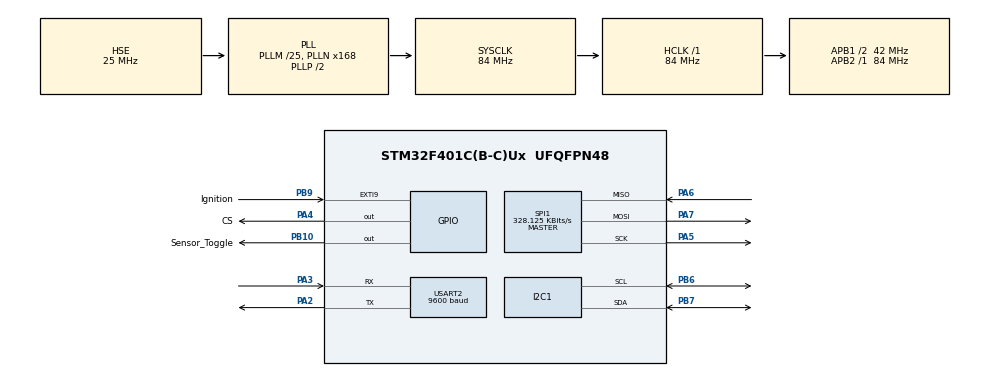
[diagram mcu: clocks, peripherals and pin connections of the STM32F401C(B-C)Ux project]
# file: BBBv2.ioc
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Dma.Request0=USART2_RX
Dma.USART2_RX.0.Direction=DMA_PERIPH_TO_MEMORY
Dma.USART2_RX.0.FIFOMode=DMA_FIFOMODE_DISABLE
Dma.USART2_RX.0.Instance=DMA1_Stream5
Dma.USART2_RX.0.MemDataAlignment=DMA_MDATAALIGN_BYTE
Dma.USART2_RX.0.MemInc=DMA_MINC_ENABLE
Dma.USART2_RX.0.Mode=DMA_CIRCULAR
Dma.USART2_RX.0.PeriphDataAlignment=DMA_PDATAALIGN_BYTE
Dma.USART2_RX.0.PeriphInc=DMA_PINC_DISABLE
Dma.USART2_RX.0.Priority=DMA_PRIORITY_MEDIUM
I2C1.I2C_Mode=I2C_Fast
Mcu.Family=STM32F4
Mcu.Name=STM32F401C(B-C)Ux
Mcu.Package=UFQFPN48
NVIC.DMA1_Stream5_IRQn=true\:0\:0\:false\:false\:true\:false\:true\:true
NVIC.PriorityGroup=NVIC_PRIORITYGROUP_4
NVIC.TIM2_IRQn=true\:0\:0\:false\:false\:true\:true\:true\:true
PA2.Mode=Asynchronous
PA2.Signal=USART2_TX
PA3.Mode=Asynchronous
PA3.Signal=USART2_RX
PA4.GPIO_Label=CS
PA4.GPIO_Speed=GPIO_SPEED_FREQ_HIGH
PA4.PinState=GPIO_PIN_SET
PA4.Signal=GPIO_Output
PA5.Mode=Full_Duplex_Master
PA5.Signal=SPI1_SCK
PA6.Mode=Full_Duplex_Master
PA6.Signal=SPI1_MISO
PA7.Mode=Full_Duplex_Master
PA7.Signal=SPI1_MOSI
PB10.GPIO_Label=Sensor_Toggle
PB10.GPIO_PuPd=GPIO_PULLUP
PB10.GPIO_Speed=GPIO_SPEED_FREQ_MEDIUM
PB10.PinState=GPIO_PIN_SET
PB10.Signal=GPIO_Output
PB6.Mode=I2C
PB6.Signal=I2C1_SCL
PB7.Mode=I2C
PB7.Signal=I2C1_SDA
PB9.GPIO_Label=Ignition
PB9.GPIO_PuPd=GPIO_PULLDOWN
PB9.Signal=GPXTI9
PC14-OSC32_IN.Mode=LSE-External-Oscillator
PC14-OSC32_IN.Signal=RCC_OSC32_IN
PC15-OSC32_OUT.Mode=LSE-External-Oscillator
PC15-OSC32_OUT.Signal=RCC_OSC32_OUT
PH0\ -\ OSC_IN.Mode=HSE-External-Oscillator
PH0\ -\ OSC_IN.Signal=RCC_OSC_IN
PH1\ -\ OSC_OUT.Mode=HSE-External-Oscillator
PH1\ -\ OSC_OUT.Signal=RCC_OSC_OUT
ProjectManager.HeapSize=0x200
ProjectManager.StackSize=0x400
ProjectManager.TargetToolchain=STM32CubeIDE
RCC.48MHZClocksFreq_Value=42000000
RCC.AHBFreq_Value=84000000
RCC.APB1CLKDivider=RCC_HCLK_DIV2
RCC.APB1Freq_Value=42000000
RCC.APB1TimFreq_Value=84000000
RCC.APB2Freq_Value=84000000
RCC.APB2TimFreq_Value=84000000
RCC.CortexFreq_Value=84000000
RCC.HCLKFreq_Value=84000000
RCC.HSE_VALUE=25000000
RCC.HSI_VALUE=16000000
RCC.PLLM=25
RCC.PLLN=168
RCC.PLLSourceVirtual=RCC_PLLSOURCE_HSE
RCC.RCC_RTC_Clock_Source=RCC_RTCCLKSOURCE_LSE
RCC.SYSCLKFreq_VALUE=84000000
RCC.SYSCLKSource=RCC_SYSCLKSOURCE_PLLCLK
RCC.VCOOutputFreq_Value=168000000
SPI1.BaudRatePrescaler=SPI_BAUDRATEPRESCALER_256
SPI1.CalculateBaudRate=328.125 KBits/s
SPI1.Direction=SPI_DIRECTION_2LINES
SPI1.Mode=SPI_MODE_MASTER
SPI1.VirtualType=VM_MASTER
TIM2.Period=999
TIM2.Prescaler=83
USART2.BaudRate=9600
USART2.Mode=MODE_RX
USART2.VirtualMode=VM_ASYNC
VP_RTC_VS_RTC_Activate.Mode=RTC_Enabled
VP_TIM2_VS_ClockSourceINT.Mode=Internal
board=custom

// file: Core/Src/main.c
/* USER CODE BEGIN Header */
/**
  ******************************************************************************
  * @file           : main.c
  * @brief          : Main program body
  ******************************************************************************
  */
/* USER CODE END Header */

#include "stm32f4xx_hal.h"
#include "main.h"

/* USER CODE BEGIN Includes */
#include "mpu6050.h"
#include "sdcard.h"
#include "gps.h"
#include "ssd1306.h"
#include "data_types.h"
#include <stdint.h>
#include <string.h>
#include <stdio.h>
#include "ssd1306_fonts.h"
/* USER CODE END Includes */

/* USER CODE BEGIN PTD */
#define LOG_TYPE_IMU  0x01u   /* SD record tag: IMU sample */
#define LOG_TYPE_GPS  0x02u   /* SD record tag: GPS fix    */

typedef struct __attribute__((packed)) {
    float    latitude;
    float    longitude;
    float    speed;
    char     time[12];
    uint32_t timestamp_ms;
} gps_log_record_t;
/* USER CODE END PTD */

/* USER CODE BEGIN PD */
#define SAMPLE_RATE      40                               /* IMU samples per second */
#define BUFFER_SECONDS   60                               /* ring buffer depth */
#define BUFFER_SIZE      (SAMPLE_RATE * BUFFER_SECONDS)   /* 2400 samples */

/* Squared-magnitude thresholds (raw ADC units²); no sqrt needed */
#define ACCEL_THRESHOLD  15000000u
#define GYRO_THRESHOLD   3000000u

#define RTC_INIT_FLAG    0xABCE   /* sentinel stored in backup register to detect first boot */

#define GPS_POLL_MS      1000u    /* poll GPS once per second */
#define OLED_REFRESH_MS  200u     /* update OLED 5 times per second */

/* Sensor rail is active-low: RESET = power on, SET = power off */
#define SENSORS_POWER_ON()  HAL_GPIO_WritePin(Sensor_Toggle_GPIO_Port, \
                                               Sensor_Toggle_Pin, GPIO_PIN_RESET)
#define SENSORS_POWER_OFF() HAL_GPIO_WritePin(Sensor_Toggle_GPIO_Port, \
                                               Sensor_Toggle_Pin, GPIO_PIN_SET)
/* USER CODE END PD */

I2C_HandleTypeDef  hi2c1;   /* MPU-6050 */
RTC_HandleTypeDef  hrtc;
SPI_HandleTypeDef  hspi1;   /* SD card  */
TIM_HandleTypeDef  htim2;   /* 1 ms system tick + sample trigger */
UART_HandleTypeDef huart2;  /* GPS NMEA RX (DMA) */
DMA_HandleTypeDef  hdma_usart2_rx;

/* USER CODE BEGIN PV */
extern char sentence_buffer[100];   /* filled by GPS DMA ISR */

volatile uint8_t  sample_trigger     = 0;   /* counts TIM2 ticks toward next IMU sample */
volatile uint32_t system_time_ms     = 0;   /* free-running ms counter, incremented in TIM2 ISR */

sample_t buffer[BUFFER_SIZE];   /* circular ring buffer of IMU samples */

volatile uint8_t sample_request_flag = 0;   /* set by ISR, cleared in main loop */
uint8_t  crash_trigger_flag          = 0;   /* set when crash threshold exceeded */
uint8_t  buffer_freeze_flag          = 0;   /* set when post-crash capture is complete */

static uint8_t crash_displayed = 0;   /* prevents overwriting the crash screen on OLED */

uint16_t write_index    = 0;   /* next slot to write in the ring buffer */
uint16_t crash_index    = 0;   /* ring buffer position at moment of crash detection */

uint64_t accel_mag = 0;   /* squared magnitude of accelerometer vector */
uint64_t gyro_mag  = 0;   /* squared magnitude of gyroscope vector */

int32_t ax, ay, az;
int32_t gx, gy, gz;

uint8_t  crash_counter      = 0;   /* consecutive samples above threshold */
uint16_t post_crash_counter = 0;   /* samples collected after crash trigger */

RTC_TimeTypeDef rtc_time_ref;   /* last RTC snapshot, refreshed at 1 Hz */
RTC_DateTypeDef rtc_date_ref;

volatile uint32_t last_rtc_sync   = 0;
volatile uint32_t rtc_sync_ms_ref = 0;

static sample_t last_valid_sample = {0};   /* used as fallback if an I2C read fails */

uint8_t  sd_buffer[512];     /* one SD sector staging buffer */
uint16_t sd_index       = 0;
uint32_t current_sector = 0;
uint32_t base_sector    = 2048;   /* first writable sector (avoids MBR/FAT area) */
uint8_t  logging_done   = 0;

static gps_log_record_t last_gps_record  = {0};
static uint8_t          gps_fix_valid    = 0;
static uint32_t         last_gps_poll_ms = 0;
static uint32_t         last_oled_ms     = 0;

/* Tracks actual samples stored so far; prevents logging uninitialised slots
   when the buffer has never been fully filled. */
static uint16_t samples_written = 0;

/* USER CODE END PV */

void SystemClock_Config(void);
static void MX_GPIO_Init(void);
static void MX_DMA_Init(void);
static void MX_I2C1_Init(void);
static void MX_RTC_Init(void);
static void MX_SPI1_Init(void);
static void MX_TIM2_Init(void);
static void MX_USART2_UART_Init(void);

/* USER CODE BEGIN 0 */
/* Latch current RTC time and date into global references */
void Update_Time_Reference(void)
{
    /* Date must be read after Time to unlock the shadow registers correctly */
    HAL_RTC_GetTime(&hrtc, &rtc_time_ref, RTC_FORMAT_BIN);
    HAL_RTC_GetDate(&hrtc, &rtc_date_ref, RTC_FORMAT_BIN);
}

/* Write a type-tagged record into the 512-byte SD staging buffer.
   Flushes the sector to SD automatically when full. */
static void SD_WriteTaggedRecord(uint8_t type, const void *payload,
                                  uint16_t payload_len, uint8_t *sd_error)
{
    uint16_t record_len = 1u + payload_len;   /* tag byte + payload */
    if (sd_index + record_len > 512u)         /* sector full — flush first */
    {
        if (!SD_Write(current_sector, sd_buffer)) { *sd_error = 1; return; }
        current_sector++;
        sd_index = 0;
        memset(sd_buffer, 0, 512u);
    }
    sd_buffer[sd_index++] = type;
    memcpy(&sd_buffer[sd_index], payload, payload_len);
    sd_index += payload_len;
}

/* snprintf-safe float formatter for targets without printf float support */
static void __attribute__((unused)) Format_Float_As_Int(char *buf, size_t buf_len,
                                                         float val, uint8_t decimals)
{
    int   neg     = (val < 0.0f);
    float abs_val = neg ? -val : val;
    long  ip      = (long)abs_val;
    float frac_f  = abs_val - (float)ip;
    unsigned long scale = 1;
    for (uint8_t i = 0; i < decimals; i++) scale *= 10u;
    unsigned long fp = (unsigned long)(frac_f * (float)scale + 0.5f);
    if (fp >= scale) { fp = 0; ip++; }   /* handle rounding carry */
    snprintf(buf, buf_len, "%s%ld.%0*lu", neg ? "-" : "", ip, (int)decimals, fp);
}
/* USER CODE END 0 */

int main(void)
{
    HAL_Init();
    SystemClock_Config();

    /* USER CODE BEGIN SysInit */
    __HAL_RCC_PWR_CLK_ENABLE();
    HAL_PWR_EnableBkUpAccess();   /* required before touching RTC/backup registers */

    /* Drive sensor rail OFF before LSE wait — on a cold power cycle GPIO is not yet
       initialised, so Sensor_Toggle (PB10) floats and can accidentally power sensors.
       Uncontrolled sensor power-on corrupts the I2C bus before MX_I2C1_Init runs. */
    __HAL_RCC_GPIOB_CLK_ENABLE();
    {
        GPIO_InitTypeDef g = {0};
        g.Pin   = GPIO_PIN_10;
        g.Mode  = GPIO_MODE_OUTPUT_PP;
        g.Pull  = GPIO_NOPULL;
        g.Speed = GPIO_SPEED_FREQ_LOW;
        HAL_GPIO_Init(GPIOB, &g);
    }
    HAL_GPIO_WritePin(GPIOB, GPIO_PIN_10, GPIO_PIN_SET);   /* sensors OFF (active-low) */

    MX_RTC_Init();

    /* Only set default time/date on the very first boot (backup register is blank) */
    if (HAL_RTCEx_BKUPRead(&hrtc, RTC_BKP_DR0) != RTC_INIT_FLAG)
    {
        RTC_TimeTypeDef sTime = {0};
        RTC_DateTypeDef sDate = {0};
        sTime.Hours = 6; sTime.Minutes = 43; sTime.Seconds = 0;
        sDate.Date  = 22; sDate.Month   = 3; sDate.Year    = 26;
        HAL_RTC_SetTime(&hrtc, &sTime, RTC_FORMAT_BIN);
        HAL_RTC_SetDate(&hrtc, &sDate, RTC_FORMAT_BIN);
        HAL_RTCEx_BKUPWrite(&hrtc, RTC_BKP_DR0, RTC_INIT_FLAG);   /* mark as initialised */
    }
    /* USER CODE END SysInit */

    MX_GPIO_Init();
    MX_DMA_Init();
    MX_I2C1_Init();
    MX_SPI1_Init();
    MX_TIM2_Init();
    MX_USART2_UART_Init();

    /* USER CODE BEGIN 2 */
    SENSORS_POWER_ON();
    HAL_Delay(50);   /* MPU6050 requires ≥30 ms after power rail rises */

    /* Sensor power-up can glitch SDA/SCL and leave the I2C peripheral in an error
       state. Re-init after the rail is stable so the first OLED write starts clean. */
    HAL_I2C_DeInit(&hi2c1);
    MX_I2C1_Init();

    /* Init OLED first so it can show status regardless of IMU state */
    ssd1306_Init();
    ssd1306_Fill(Black);
    ssd1306_SetCursor(0, 0);
    ssd1306_WriteString("System Init...", Font_7x10, White);
    ssd1306_UpdateScreen();

    {
        uint16_t imu_retry = 0;
        while (!MPU6050_Init(&hi2c1, MPU6050_ADDR_LOW))
        {
            HAL_Delay(10);
            if (++imu_retry >= 50)   /* ~500 ms with no response — bus is stuck */
            {
                HAL_I2C_DeInit(&hi2c1);
                MX_I2C1_Init();
                imu_retry = 0;
            }
        }
    }
    /* Re-init OLED in case the IMU retry loop triggered I2C bus recovery */
    ssd1306_Init();

    GPS_Init(&huart2, &hdma_usart2_rx);
    HAL_TIM_Base_Start_IT(&htim2);   /* start 1 ms tick */

    /* Snapshot references so relative timers start from zero */
    last_rtc_sync    = system_time_ms;
    rtc_sync_ms_ref  = system_time_ms;
    last_gps_poll_ms = system_time_ms;
    last_oled_ms     = system_time_ms;
    Update_Time_Reference();

    ssd1306_Fill(Black);
    ssd1306_SetCursor(0, 0);
    ssd1306_WriteString("IMU OK", Font_7x10, White);
    ssd1306_UpdateScreen();
    HAL_Delay(500);

    ssd1306_Fill(Black);
    ssd1306_SetCursor(0, 0);
    ssd1306_WriteString("System Ready", Font_7x10, White);
    ssd1306_UpdateScreen();

    SD_DriverInit(&hspi1);
    if (SD_Init())
    {
        ssd1306_Fill(Black);
        ssd1306_SetCursor(0, 0);
        ssd1306_WriteString("SD OK", Font_7x10, White);
    }
    else
    {
        ssd1306_Fill(Black);
        ssd1306_SetCursor(0, 0);
        ssd1306_WriteString("SD FAIL", Font_7x10, White);
    }
    ssd1306_UpdateScreen();
    HAL_Delay(1000);
    /* USER CODE END 2 */

    while (1)
    {
        /* USER CODE BEGIN 3 */

        uint32_t now = system_time_ms;   /* single snapshot avoids skew across checks */

        /* ---------------------------------------------------------------- */
        /* RTC SYNC — 1 Hz                                                  */
        /* ---------------------------------------------------------------- */
        if ((now - last_rtc_sync) >= 1000u)
        {
            last_rtc_sync   = now;
            rtc_sync_ms_ref = now;
            Update_Time_Reference();
        }

        /* ---------------------------------------------------------------- */
        /* GPS POLL — 1 Hz                                                  */
        /* ---------------------------------------------------------------- */
        if ((now - last_gps_poll_ms) >= GPS_POLL_MS)
        {
            last_gps_poll_ms = now;

            gps_data_t gd = GPS_GetData();
            gps_fix_valid  = gd.valid;

            last_gps_record.latitude     = gd.latitude;
            last_gps_record.longitude    = gd.longitude;
            last_gps_record.speed        = gd.speed;
            last_gps_record.timestamp_ms = now;

            /* Copy time string safely without overflowing the destination */
            size_t clen = sizeof(last_gps_record.time) < sizeof(gd.time)
                          ? sizeof(last_gps_record.time) : sizeof(gd.time);

            memset(last_gps_record.time, 0, sizeof(last_gps_record.time));
            memcpy(last_gps_record.time, gd.time, clen - 1);   /* leave null terminator */
        }

        /* ---------------------------------------------------------------- */
        /* OLED UPDATE — 5 Hz (every 200 ms)                                */
        /* ---------------------------------------------------------------- */
        if ((now - last_oled_ms) >= OLED_REFRESH_MS)
        {
            last_oled_ms = now;

            /* Skip normal status display if the crash screen is showing */
            if (!crash_displayed)
            {
                ssd1306_Fill(Black);
                char line[24];

                snprintf(line, sizeof(line), "A:%6d%6d%6d",
                         (int)last_valid_sample.ax,
                         (int)last_valid_sample.ay,
                         (int)last_valid_sample.az);
                ssd1306_SetCursor(0, 0);
                ssd1306_WriteString(line, Font_6x8, White);

                snprintf(line, sizeof(line), "G:%6d%6d%6d",
                         (int)last_valid_sample.gx,
                         (int)last_valid_sample.gy,
                         (int)last_valid_sample.gz);
                ssd1306_SetCursor(0, 8);
                ssd1306_WriteString(line, Font_6x8, White);

                snprintf(line, sizeof(line), "V:%d T:%.8s",
                         (int)gps_fix_valid, last_gps_record.time);
                ssd1306_SetCursor(0, 16);
                ssd1306_WriteString(line, Font_6x8, White);

                snprintf(line, sizeof(line), "T:%02d:%02d:%02d",
                         rtc_time_ref.Hours,
                         rtc_time_ref.Minutes,
                         rtc_time_ref.Seconds);
                ssd1306_SetCursor(0, 24);
                ssd1306_WriteString(line, Font_6x8, White);

                snprintf(line, sizeof(line), "D:%02d/%02d/%02d",
                         rtc_date_ref.Date,
                         rtc_date_ref.Month,
                         rtc_date_ref.Year);
                ssd1306_SetCursor(0, 32);
                ssd1306_WriteString(line, Font_6x8, White);

                snprintf(line, sizeof(line), "UP:%lu s",
                         (unsigned long)(now / 1000u));
                ssd1306_SetCursor(0, 40);
                ssd1306_WriteString(line, Font_6x8, White);

                if (HAL_I2C_GetState(&hi2c1) != HAL_I2C_STATE_READY)
                {
                    HAL_I2C_DeInit(&hi2c1);
                    MX_I2C1_Init();
                    ssd1306_Init();
                }

                ssd1306_UpdateScreen();
            }
        }

        /* ---------------------------------------------------------------- */
        /* IMU SAMPLING @ 40 Hz                                             */
        /* ---------------------------------------------------------------- */
        if (sample_request_flag)
        {
            sample_request_flag = 0;
            uint32_t read_start = system_time_ms;

            /* Read sensor; fall back to last good values on I2C failure */
            if (MPU6050_Read(&hi2c1, &buffer[write_index]))
            {
                last_valid_sample = buffer[write_index];
            }
            else
            {
                buffer[write_index].ax = last_valid_sample.ax;
                buffer[write_index].ay = last_valid_sample.ay;
                buffer[write_index].az = last_valid_sample.az;
                buffer[write_index].gx = last_valid_sample.gx;
                buffer[write_index].gy = last_valid_sample.gy;
                buffer[write_index].gz = last_valid_sample.gz;
            }

            if ((system_time_ms - read_start) > 10)
                {
                    HAL_I2C_DeInit(&hi2c1);
                    MX_I2C1_Init();
                }

            buffer[write_index].timestamp = system_time_ms;

            /* Startup grace period (5 s): fill buffer but suppress crash detection
               to avoid false triggers while the sensor settles. */
            if (system_time_ms < 5000)
            {
                write_index = (write_index + 1) % BUFFER_SIZE;
                if (samples_written < BUFFER_SIZE) samples_written++;
                crash_counter = 0;
            }

            else if (!crash_trigger_flag)
            {
                /* Compute squared magnitudes (avoids costly sqrt) */
                ax = buffer[write_index].ax;
                ay = buffer[write_index].ay;
                az = buffer[write_index].az;
                gx = buffer[write_index].gx;
                gy = buffer[write_index].gy;
                gz = buffer[write_index].gz;

                accel_mag = (uint64_t)((int64_t)ax*ax + (int64_t)ay*ay + (int64_t)az*az);
                gyro_mag  = (uint64_t)((int64_t)gx*gx + (int64_t)gy*gy + (int64_t)gz*gz);

                /* Require 3 consecutive over-threshold samples (~75 ms) to
                   confirm a real crash and reject single-sample spikes. */
                if (accel_mag >= ACCEL_THRESHOLD || gyro_mag >= GYRO_THRESHOLD)
                {
                    crash_counter++;
                    if (crash_counter >= 3)
                    {
                        crash_trigger_flag = 1;
                        crash_index        = write_index;
                        crash_counter      = 0;

                        /* Show crash alert once; do not overwrite it during OLED refresh */
                        if (!crash_displayed)
                        {
                            crash_displayed = 1;

                            ssd1306_Fill(Black);
                            ssd1306_SetCursor(0, 0);
                            ssd1306_WriteString("CRASH!", Font_7x10, White);
                            ssd1306_UpdateScreen();
                        }
                    }
                }
                else
                {
                    crash_counter = 0;
                }

                write_index = (write_index + 1) % BUFFER_SIZE;
                if (samples_written < BUFFER_SIZE) samples_written++;
            }
            else
            {
                /* Post-crash: capture 2 s (80 samples @ 40 Hz) of data then freeze */
                if (post_crash_counter < 80u)
                {
                    post_crash_counter++;
                    write_index = (write_index + 1) % BUFFER_SIZE;
                    if (samples_written < BUFFER_SIZE) samples_written++;
                }
                else
                {
                    buffer_freeze_flag = 1;   /* signal main loop to begin SD logging */
                }
            }
        }

        /* ---------------------------------------------------------------- */
        /* SD LOGGING                                                        */
        /* ---------------------------------------------------------------- */
        if (buffer_freeze_flag)
        {
            ssd1306_Fill(Black);
            ssd1306_SetCursor(0, 0);
            ssd1306_WriteString("Logging...", Font_7x10, White);
            ssd1306_UpdateScreen();

            /* Use actual sample count so we never log uninitialised buffer slots */
            uint16_t log_count = samples_written;

            /* Determine oldest sample in the ring buffer */
            uint16_t start_index;
            if (samples_written < BUFFER_SIZE)
                start_index = 0;                                  /* buffer not yet wrapped */
            else
                start_index = (crash_index + 1u) % BUFFER_SIZE;  /* wrapped: oldest is one past crash */

            uint16_t current  = start_index;
            uint8_t  sd_error = 0;

            sd_index       = 0;
            current_sector = base_sector;
            memset(sd_buffer, 0, sizeof(sd_buffer));

            /* Prepend a GPS record so the log starts with a known position */
            if (gps_fix_valid)
            {
                SD_WriteTaggedRecord(LOG_TYPE_GPS, &last_gps_record,
                                     sizeof(gps_log_record_t), &sd_error);
            }

            /* Write all IMU samples; interleave a GPS record every 40 samples (1 s) */
            for (uint32_t i = 0; i < log_count && !sd_error; i++)
            {
                if (i > 0u && (i % 40u) == 0u)
                {
                    SD_WriteTaggedRecord(LOG_TYPE_GPS, &last_gps_record,
                                         sizeof(gps_log_record_t), &sd_error);
                    if (sd_error) break;
                }
                SD_WriteTaggedRecord(LOG_TYPE_IMU, &buffer[current],
                                     sizeof(sample_t), &sd_error);
                current = (current + 1u) % BUFFER_SIZE;
            }

            /* Flush any remaining bytes in the partial final sector */
            if (!sd_error && sd_index > 0u)
            {
                memset(&sd_buffer[sd_index], 0, 512u - sd_index);   /* zero-pad to sector boundary */
                if (!SD_Write(current_sector, sd_buffer)) sd_error = 1;
            }

            if (sd_error)
            {
                ssd1306_Fill(Black);
                ssd1306_SetCursor(0, 0);
                ssd1306_WriteString("SD ERROR", Font_7x10, White);
                ssd1306_UpdateScreen();
            }

            /* Advance base_sector past the maximum possible log size so the next
               event doesn't overwrite this one. */
            uint32_t max_bytes =
                (uint32_t)BUFFER_SIZE * (1u + sizeof(sample_t))
              + (uint32_t)(BUFFER_SIZE / 40u + 2u) * (1u + sizeof(gps_log_record_t));
            base_sector += (max_bytes + 511u) / 512u;

            /* Reset all crash/logging state for the next event */
            post_crash_counter = 0;
            crash_trigger_flag = 0;
            buffer_freeze_flag = 0;
            crash_counter      = 0;
            write_index        = 0;
            logging_done       = 1;
            samples_written    = 0;

            ssd1306_Fill(Black);
            ssd1306_SetCursor(0, 0);
            ssd1306_WriteString("Log Saved", Font_7x10, White);
            ssd1306_UpdateScreen();

            crash_displayed = 0;
        }

        /* USER CODE END 3 */
    }
}

void SystemClock_Config(void)
{
    RCC_OscInitTypeDef RCC_OscInitStruct = {0};
    RCC_ClkInitTypeDef RCC_ClkInitStruct = {0};

    __HAL_RCC_PWR_CLK_ENABLE();
    __HAL_PWR_VOLTAGESCALING_CONFIG(PWR_REGULATOR_VOLTAGE_SCALE2);

    /* HSE (external crystal) + LSI for RTC; PLL from HSE */
    RCC_OscInitStruct.OscillatorType = RCC_OSCILLATORTYPE_HSE | RCC_OSCILLATORTYPE_LSI;
    RCC_OscInitStruct.HSEState       = RCC_HSE_ON;
    RCC_OscInitStruct.LSIState       = RCC_LSI_ON;
    RCC_OscInitStruct.PLL.PLLState   = RCC_PLL_ON;
    RCC_OscInitStruct.PLL.PLLSource  = RCC_PLLSOURCE_HSE;
    /* 25 MHz HSE → /25 × 168 / 2 = 84 MHz SYSCLK */
    RCC_OscInitStruct.PLL.PLLM       = 25;
    RCC_OscInitStruct.PLL.PLLN       = 168;
    RCC_OscInitStruct.PLL.PLLP       = RCC_PLLP_DIV2;
    RCC_OscInitStruct.PLL.PLLQ       = 4;
    if (HAL_RCC_OscConfig(&RCC_OscInitStruct) != HAL_OK) Error_Handler();

    RCC_PeriphCLKInitTypeDef PeriphClkInit = {0};
    PeriphClkInit.PeriphClockSelection = RCC_PERIPHCLK_RTC;
    PeriphClkInit.RTCClockSelection    = RCC_RTCCLKSOURCE_LSI;
    if (HAL_RCCEx_PeriphCLKConfig(&PeriphClkInit) != HAL_OK) Error_Handler();

    RCC_ClkInitStruct.ClockType      = RCC_CLOCKTYPE_HCLK | RCC_CLOCKTYPE_SYSCLK
                                     | RCC_CLOCKTYPE_PCLK1 | RCC_CLOCKTYPE_PCLK2;
    RCC_ClkInitStruct.SYSCLKSource   = RCC_SYSCLKSOURCE_PLLCLK;
    RCC_ClkInitStruct.AHBCLKDivider  = RCC_SYSCLK_DIV1;    /* HCLK  = 84 MHz */
    RCC_ClkInitStruct.APB1CLKDivider = RCC_HCLK_DIV2;      /* APB1  = 42 MHz (I2C, UART) */
    RCC_ClkInitStruct.APB2CLKDivider = RCC_HCLK_DIV1;      /* APB2  = 84 MHz (SPI, TIM) */
    if (HAL_RCC_ClockConfig(&RCC_ClkInitStruct, FLASH_LATENCY_2) != HAL_OK) Error_Handler();
}

static void MX_I2C1_Init(void)
{
    hi2c1.Instance             = I2C1;
    hi2c1.Init.ClockSpeed      = 400000;   /* 400 kHz fast mode */
    hi2c1.Init.DutyCycle       = I2C_DUTYCYCLE_2;
    hi2c1.Init.OwnAddress1     = 0;
    hi2c1.Init.AddressingMode  = I2C_ADDRESSINGMODE_7BIT;
    hi2c1.Init.DualAddressMode = I2C_DUALADDRESS_DISABLE;
    hi2c1.Init.OwnAddress2     = 0;
    hi2c1.Init.GeneralCallMode = I2C_GENERALCALL_DISABLE;
    hi2c1.Init.NoStretchMode   = I2C_NOSTRETCH_DISABLE;
    if (HAL_I2C_Init(&hi2c1) != HAL_OK) Error_Handler();
}

static void MX_RTC_Init(void)
{
    hrtc.Instance            = RTC;
    hrtc.Init.HourFormat     = RTC_HOURFORMAT_24;
    /* Async = 128, Sync = 250 → 1 Hz from ~32 kHz LSI */
    hrtc.Init.AsynchPrediv   = 127;
    hrtc.Init.SynchPrediv    = 249;
    hrtc.Init.OutPut         = RTC_OUTPUT_DISABLE;
    hrtc.Init.OutPutPolarity = RTC_OUTPUT_POLARITY_HIGH;
    hrtc.Init.OutPutType     = RTC_OUTPUT_TYPE_OPENDRAIN;
    HAL_RTC_Init(&hrtc);   /* non-fatal: RTC time display is informational only */
}

static void MX_SPI1_Init(void)
{
    hspi1.Instance               = SPI1;
    hspi1.Init.Mode              = SPI_MODE_MASTER;
    hspi1.Init.Direction         = SPI_DIRECTION_2LINES;
    hspi1.Init.DataSize          = SPI_DATASIZE_8BIT;
    hspi1.Init.CLKPolarity       = SPI_POLARITY_LOW;
    hspi1.Init.CLKPhase          = SPI_PHASE_1EDGE;   /* SPI mode 0 */
    hspi1.Init.NSS               = SPI_NSS_SOFT;
    hspi1.Init.BaudRatePrescaler = SPI_BAUDRATEPRESCALER_256;   /* ~328 kHz — slow for SD init */
    hspi1.Init.FirstBit          = SPI_FIRSTBIT_MSB;
    hspi1.Init.TIMode            = SPI_TIMODE_DISABLE;
    hspi1.Init.CRCCalculation    = SPI_CRCCALCULATION_DISABLE;
    hspi1.Init.CRCPolynomial     = 10;
    if (HAL_SPI_Init(&hspi1) != HAL_OK) Error_Handler();
}

static void MX_TIM2_Init(void)
{
    TIM_ClockConfigTypeDef  sClockSourceConfig = {0};
    TIM_MasterConfigTypeDef sMasterConfig      = {0};

    htim2.Instance               = TIM2;
    /* 84 MHz / (83+1) / (999+1) = 1 kHz → 1 ms period */
    htim2.Init.Prescaler         = 83;
    htim2.Init.CounterMode       = TIM_COUNTERMODE_UP;
    htim2.Init.Period            = 999;
    htim2.Init.ClockDivision     = TIM_CLOCKDIVISION_DIV1;
    htim2.Init.AutoReloadPreload = TIM_AUTORELOAD_PRELOAD_DISABLE;
    if (HAL_TIM_Base_Init(&htim2) != HAL_OK) Error_Handler();

    sClockSourceConfig.ClockSource = TIM_CLOCKSOURCE_INTERNAL;
    if (HAL_TIM_ConfigClockSource(&htim2, &sClockSourceConfig) != HAL_OK) Error_Handler();

    sMasterConfig.MasterOutputTrigger = TIM_TRGO_RESET;
    sMasterConfig.MasterSlaveMode     = TIM_MASTERSLAVEMODE_DISABLE;
    if (HAL_TIMEx_MasterConfigSynchronization(&htim2, &sMasterConfig) != HAL_OK) Error_Handler();
}

static void MX_USART2_UART_Init(void)
{
    huart2.Instance          = USART2;
    huart2.Init.BaudRate     = 9600;   /* standard GPS NMEA baud rate */
    huart2.Init.WordLength   = UART_WORDLENGTH_8B;
    huart2.Init.StopBits     = UART_STOPBITS_1;
    huart2.Init.Parity       = UART_PARITY_NONE;
    huart2.Init.Mode         = UART_MODE_RX;   /* GPS is receive-only */
    huart2.Init.HwFlowCtl    = UART_HWCONTROL_NONE;
    huart2.Init.OverSampling = UART_OVERSAMPLING_16;
    if (HAL_UART_Init(&huart2) != HAL_OK) Error_Handler();
}

static void MX_DMA_Init(void)
{
    __HAL_RCC_DMA1_CLK_ENABLE();
    /* DMA1 Stream5 services USART2_RX */
    HAL_NVIC_SetPriority(DMA1_Stream5_IRQn, 0, 0);
    HAL_NVIC_EnableIRQ(DMA1_Stream5_IRQn);
}

static void MX_GPIO_Init(void)
{
    GPIO_InitTypeDef GPIO_InitStruct = {0};

    __HAL_RCC_GPIOC_CLK_ENABLE();
    __HAL_RCC_GPIOH_CLK_ENABLE();
    __HAL_RCC_GPIOA_CLK_ENABLE();
    __HAL_RCC_GPIOB_CLK_ENABLE();

    /* Default SD CS high (deselected) and sensor rail off until explicitly enabled */
    HAL_GPIO_WritePin(CS_GPIO_Port,            CS_Pin,            GPIO_PIN_SET);
    HAL_GPIO_WritePin(Sensor_Toggle_GPIO_Port, Sensor_Toggle_Pin, GPIO_PIN_SET);

    GPIO_InitStruct.Pin   = CS_Pin;
    GPIO_InitStruct.Mode  = GPIO_MODE_OUTPUT_PP;
    GPIO_InitStruct.Pull  = GPIO_NOPULL;
    GPIO_InitStruct.Speed = GPIO_SPEED_FREQ_HIGH;
    HAL_GPIO_Init(CS_GPIO_Port, &GPIO_InitStruct);

    GPIO_InitStruct.Pin   = Sensor_Toggle_Pin;
    GPIO_InitStruct.Mode  = GPIO_MODE_OUTPUT_PP;
    GPIO_InitStruct.Pull  = GPIO_PULLUP;
    GPIO_InitStruct.Speed = GPIO_SPEED_FREQ_MEDIUM;
    HAL_GPIO_Init(Sensor_Toggle_GPIO_Port, &GPIO_InitStruct);

}

/* USER CODE BEGIN 4 */
void HAL_TIM_PeriodElapsedCallback(TIM_HandleTypeDef *htim)
{
    if (htim->Instance == TIM2)
    {
        system_time_ms++;

        /* Generate 40 Hz sample requests: every 25 ms ticks */
        if (!buffer_freeze_flag)
        {
            sample_trigger++;
            if (sample_trigger >= 25u)
            {
                sample_request_flag = 1;
                sample_trigger      = 0;
            }
        }
    }
}

/* USER CODE END 4 */

void Error_Handler(void)
{
    __disable_irq();
    while (1) {}   /* halt; attach debugger or observe watchdog reset */
}
